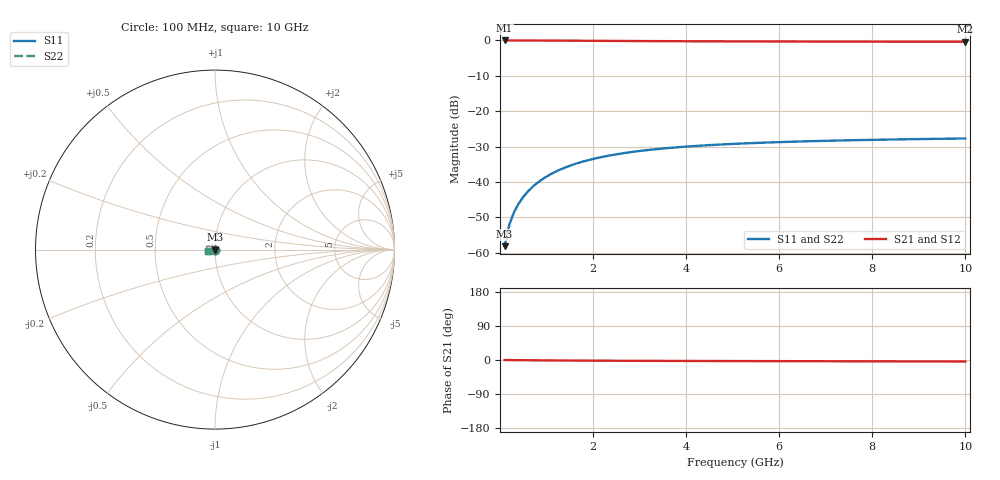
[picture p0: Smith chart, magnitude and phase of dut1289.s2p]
! Touchstone file exported from HFSS 2024.1.0
!  File:  C:/UserFiles/LocalFiles/RDL_TSV_Batchsim/temp_TSV1_1289_1780256014.aedt
!  Generated:  03:39:52 AM Jun  1, 2026
!  Design:  TSV1
!  Project:  temp_TSV1_1289_1780256014
!  Setup:  Setup1
!  Solution:  Sweep
! Variables:
!  dtsv = 13.96um
!  hbump = 3um
!  htsv = 58.2um
!  lrdl = 252.1521522um
!  p = 40
!  p1 = 54.18um
!  t = 500um
!  trdl = 3um
!  wrdl = 24.89489489um
# GHz S MA R 50.000000
! Terminal data exported
! Port[1] = TSV22_T1
! Port[2] = TSV22_T2
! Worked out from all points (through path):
!   100 points, 100 MHz to 10 GHz, reference 50 ohm
!   highest |S21| = 0.00 dB at 100 MHz (marker M1); lowest = -0.4 dB at 10 GHz (marker M2)
!   lowest |S11| = -58.1 dB at 100 MHz (marker M3), VSWR 1.00, Z = 50 - j0.124 ohm
!   |S11| at or under -10 dB: start of sweep to end of sweep
!   |S22| runs from -58.1 to -27.7 dB; largest |S21 - S12| = 8.2e-15
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0.1  0.00124 -88.6  0.9999 -0.1  0.9999 -0.1  0.00124 -88.6
! Gamma 0 0 0 0
! Port Impedance 50 0 50 0
0.2  0.002478 -91.9  0.9997 -0.2  0.9997 -0.2  0.002478 -91.9
0.3  0.003715 -94.3  0.9995 -0.3  0.9995 -0.3  0.003715 -94.3
0.4  0.004944 -96.4  0.9992 -0.4  0.9992 -0.4  0.004944 -96.4
0.5  0.00616 -98.4  0.9989 -0.5  0.9989 -0.5  0.00616 -98.4
0.6  0.007359 -100.4  0.9984 -0.6  0.9984 -0.6  0.007359 -100.4
0.7  0.008537 -102.3  0.9979 -0.7  0.9979 -0.7  0.008537 -102.3
0.8  0.009692 -104.1  0.9974 -0.8  0.9974 -0.8  0.009692 -104.1
0.9  0.01082 -105.9  0.9968 -0.9  0.9968 -0.9  0.01082 -105.9
1.1  0.01299 -109.4  0.9954 -1.1  0.9954 -1.1  0.01299 -109.4
1.4  0.01601 -114.4  0.9931 -1.3  0.9931 -1.3  0.01601 -114.4
1.6  0.01786 -117.5  0.9915 -1.5  0.9915 -1.5  0.01786 -117.5
1.8  0.01958 -120.4  0.9899 -1.6  0.9899 -1.6  0.01958 -120.4
2.1  0.02192 -124.5  0.9874 -1.8  0.9874 -1.8  0.02192 -124.5
2.5  0.02462 -129.5  0.9842 -2.0  0.9842 -2.0  0.02462 -129.5
2.9  0.02692 -133.9  0.9812 -2.2  0.9812 -2.2  0.02692 -133.9
3.4  0.0293 -138.7  0.9778 -2.4  0.9778 -2.4  0.0293 -138.7
4.2  0.03228 -145.2  0.9733 -2.6  0.9733 -2.6  0.03228 -145.2
5.1  0.03475 -151.2  0.9693 -2.8  0.9693 -2.8  0.03475 -151.2
6.7  0.03776 -159.5  0.9642 -3.2  0.9642 -3.2  0.03776 -159.5
8.4  0.03983 -166.3  0.9607 -3.6  0.9607 -3.6  0.03983 -166.3
10  0.04122 -171.6  0.9584 -4.0  0.9584 -4.0  0.04122 -171.6
